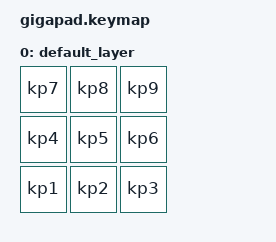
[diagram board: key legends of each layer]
#include <behaviors.dtsi>
#include <dt-bindings/zmk/keys.h>
#include <dt-bindings/zmk/bt.h>

/ {

    keymap {
        compatible = "zmk,keymap";

        default_layer {
            bindings = <
                &kp KP_NUMBER_7 &kp KP_NUMBER_8 &kp KP_NUMBER_9
                &kp KP_NUMBER_4 &kp KP_NUMBER_5 &kp KP_NUMBER_6
                &kp KP_NUMBER_1 &kp KP_NUMBER_2 &kp KP_NUMBER_3
            >;
        };
    };
};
